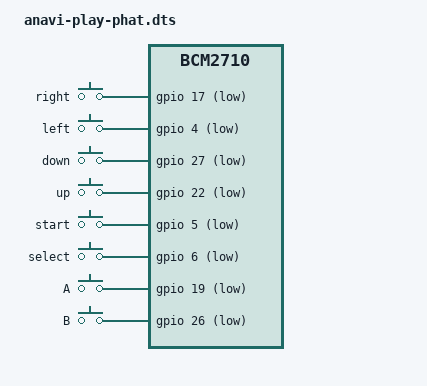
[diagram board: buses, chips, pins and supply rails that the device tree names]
/dts-v1/;
/plugin/;
/ {
   compatible = "brcm,bcm2835", "brcm,bcm2708", "brcm,bcm2709", "brcm,bcm2710";

   fragment@0 {
      target-path = "/";
      __overlay__ {
         keypad: anavi-play-phat {
            compatible = "gpio-keys";
            #address-cells = <1>;
            #size-cells = <0>;
            autorepeat;
            button@17 {
               label = "right";
               linux,code = <106>;
               gpios = <&gpio 17 1>;
            };
            button@4 {
               label = "left";
               linux,code = <105>;
               gpios = <&gpio 4 1>;
            };
            button@27 {
               label = "down";
               linux,code = <108>;
               gpios = <&gpio 27 1>;
            };
            button@22 {
               label = "up";
               linux,code = <103>;
               gpios = <&gpio 22 1>;
            };
            button@5 {
               label = "start";
               linux,code = <57>;
               gpios = <&gpio 5 1>;
            };
            button@6 {
               label = "select";
               linux,code = <31>;
               gpios = <&gpio 6 1>;
            };
            button@19 {
               label = "A";
               linux,code = <30>;
               gpios = <&gpio 19 1>;
            };
            button@26 {
               label = "B";
               linux,code = <48>;
               gpios = <&gpio 26 1>;
            };
         };
      };
   };
};
